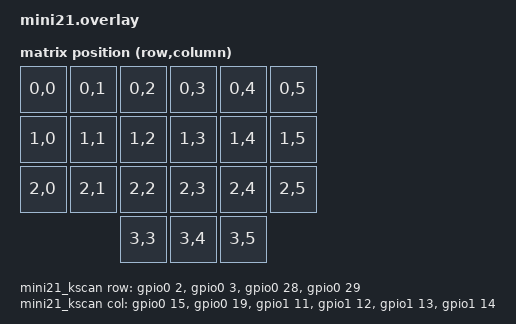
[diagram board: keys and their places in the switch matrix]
/* Mini21 custom shield for Seeed XIAO nRF52840 Plus.
 * Matrix: ROW D0..D3, COL D11 D12 D6 D7 D8 D9.
 * Diodes: column -> row (stripe/cathode on ROW side).
 * SSD1306 OLED: D4 SDA, D5 SCL, 128x32 @ 0x3c.
 * Dedicated power pushbutton: D10 -> GND (hold 2 sec to Soft Off).
 */
#include <zephyr/dt-bindings/gpio/gpio.h>
#include <dt-bindings/zmk/matrix_transform.h>

/ {
    chosen {
        zmk,physical-layout = &mini21_layout;
        zephyr,display = &mini21_oled;
    };

    mini21_kscan: kscan {
        compatible = "zmk,kscan-gpio-matrix";
        diode-direction = "col2row";
        wakeup-source;

        /* D0 P0.02, D1 P0.03, D2 P0.28, D3 P0.29 */
        row-gpios = <&gpio0 2 (GPIO_ACTIVE_HIGH | GPIO_PULL_DOWN)>,
                    <&gpio0 3 (GPIO_ACTIVE_HIGH | GPIO_PULL_DOWN)>,
                    <&gpio0 28 (GPIO_ACTIVE_HIGH | GPIO_PULL_DOWN)>,
                    <&gpio0 29 (GPIO_ACTIVE_HIGH | GPIO_PULL_DOWN)>;

        /* D11 P0.15, D12 P0.19, D6 P1.11, D7 P1.12,
         * D8 P1.13, D9 P1.14
         */
        col-gpios = <&gpio0 15 GPIO_ACTIVE_HIGH>,
                    <&gpio0 19 GPIO_ACTIVE_HIGH>,
                    <&gpio1 11 GPIO_ACTIVE_HIGH>,
                    <&gpio1 12 GPIO_ACTIVE_HIGH>,
                    <&gpio1 13 GPIO_ACTIVE_HIGH>,
                    <&gpio1 14 GPIO_ACTIVE_HIGH>;
    };

    mini21_transform: matrix_transform {
        compatible = "zmk,matrix-transform";
        rows = <4>;
        columns = <6>;
        map = <
            RC(0,0) RC(0,1) RC(0,2) RC(0,3) RC(0,4) RC(0,5)
            RC(1,0) RC(1,1) RC(1,2) RC(1,3) RC(1,4) RC(1,5)
            RC(2,0) RC(2,1) RC(2,2) RC(2,3) RC(2,4) RC(2,5)
                              RC(3,3) RC(3,4) RC(3,5)
        >;
    };

    mini21_layout: physical_layout_0 {
        compatible = "zmk,physical-layout";
        display-name = "Mini21";
        kscan = <&mini21_kscan>;
        transform = <&mini21_transform>;
    };

    /* Power pushbutton SW22, XIAO D10 (P1.15) to GND. */
    mini21_keys {
        compatible = "gpio-keys";
        mini21_power: power_key {
            gpios = <&gpio1 15 (GPIO_ACTIVE_LOW | GPIO_PULL_UP)>;
        };
    };

    behaviors {
        mini21_soft_off: mini21_soft_off {
            compatible = "zmk,behavior-soft-off";
            #binding-cells = <0>;
            hold-time-ms = <2000>;
        };
    };

    mini21_power_scan: power_scan {
        compatible = "zmk,kscan-gpio-direct";
        input-keys = <&mini21_power>;
        wakeup-source;
    };

    mini21_power_handler: power_handler {
        compatible = "zmk,kscan-sideband-behaviors";
        kscan = <&mini21_power_scan>;
        auto-enable;
        wakeup-source;
        soft_off {
            row = <0>;
            column = <0>;
            bindings = <&mini21_soft_off>;
        };
    };

    mini21_power_wakeup: power_wakeup {
        compatible = "zmk,gpio-key-wakeup-trigger";
        trigger = <&mini21_power>;
        wakeup-source;
    };

    mini21_soft_off_wakers {
        compatible = "zmk,soft-off-wakeup-sources";
        wakeup-sources = <&mini21_power_wakeup>;
    };
};

&xiao_i2c {
    status = "okay";
    mini21_oled: ssd1306@3c {
        compatible = "solomon,ssd1306fb";
        reg = <0x3c>;
        width = <128>;
        height = <32>;
        segment-offset = <0>;
        page-offset = <0>;
        display-offset = <0>;
        multiplex-ratio = <31>;
        segment-remap;
        com-invdir;
        com-sequential;
        prechargep = <0x22>;
    };
};
